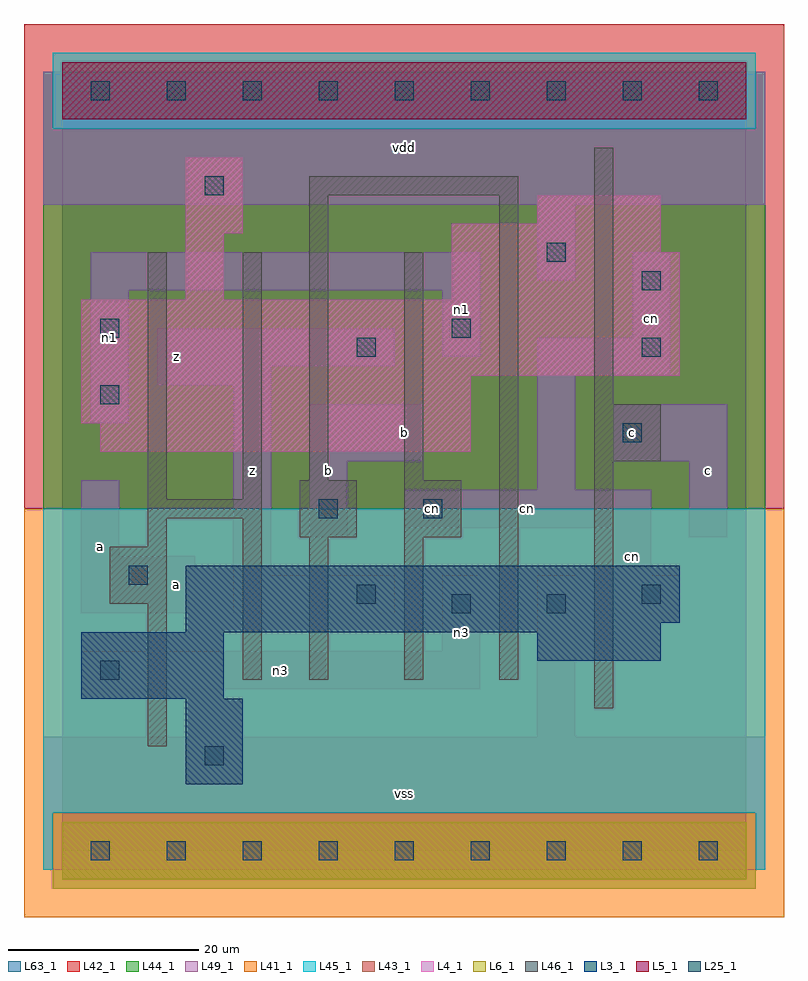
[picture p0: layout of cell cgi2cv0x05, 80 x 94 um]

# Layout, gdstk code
import gdstk
lib = gdstk.Library(unit=1e-6, precision=1e-09)
def R(c, l, rs):  # rectangles x0, y0, x1, y1
    for r in rs: c.add(gdstk.rectangle(r[:2], r[2:], *l))
def A(c, l, x, y, w, h, nx, ny, dx, dy):  # array of equal rectangles
    R(c, l, [(x+i*dx, y+j*dy, x+i*dx+w, y+j*dy+h) for i in range(nx) for j in range(ny)])
L3_1 = (3, 1)
L4_1 = (4, 1)
L5_1 = (5, 1)
L6_1 = (6, 1)
L25_1 = (25, 1)
L41_1 = (41, 1)
L42_1 = (42, 1)
L43_1 = (43, 1)
L44_1 = (44, 1)
L45_1 = (45, 1)
L46_1 = (46, 1)
L49_1 = (49, 1)
L63_1 = (63, 1)

cgi2cv0x05 = lib.new_cell('cgi2cv0x05')
R(cgi2cv0x05, L3_1, [(13,7,19,16), (2,16,17,23), (50,20,63,23), (13,23,63,24), (13,24,65,30)])
R(cgi2cv0x05, L4_1, [(4,42,43,45), (2,45,43,50), (2,50,65,58), (13,58,17,65), (41,58,65,63), (41,63,63,66), (13,65,19,73), (50,66,63,69)])
R(cgi2cv0x05, L5_1, [(0,77,72,83)])
R(cgi2cv0x05, L6_1, [(0,-3,72,3), (0,-3,72,3)])
A(cgi2cv0x05, L25_1, 3, -1, 2, 2, 9, 2, 8, 80)
R(cgi2cv0x05, L25_1, [(15,9,17,11), (4,18,6,20), (41,25,43,27), (51,25,53,27), (31,26,33,28), (61,26,63,28), (7,28,9,30), (27,35,29,37), (38,35,40,37), (59,43,61,45), (4,47,6,49), (31,52,33,54), (61,52,63,54), (4,54,6,56), (41,54,43,56), (61,59,63,61), (51,62,53,64), (15,69,17,71)])
R(cgi2cv0x05, L41_1, [(-4,-7,76,36)])
R(cgi2cv0x05, L42_1, [(-4,36,76,87)])
R(cgi2cv0x05, L43_1, [(0,-3,72,3), (13,7,19,16), (2,16,17,23), (50,20,63,23), (13,23,63,24), (13,24,65,30), (4,42,43,45), (2,45,43,50), (2,50,65,58), (13,58,17,65), (41,58,65,63), (41,63,63,66), (13,65,19,73), (50,66,63,69), (0,77,72,83)])
R(cgi2cv0x05, L44_1, [(-1,-4,73,4), (-2,36,74,76), (-2,76,-1,82), (73,76,74,82)])
R(cgi2cv0x05, L45_1, [(-2,-2,-1,4), (73,-2,74,4), (-2,4,74,36), (-1,76,73,84)])
R(cgi2cv0x05, L46_1, [(9,11,11,26), (56,15,58,41), (19,18,21,35), (26,18,28,33), (36,18,38,33), (46,18,48,69), (5,26,11,32), (9,32,11,35), (25,33,31,39), (36,33,42,39), (9,35,21,37), (9,37,11,63), (19,37,21,63), (26,39,28,69), (36,39,38,63), (56,41,63,47), (56,47,58,74), (26,69,48,71)])
R(cgi2cv0x05, L49_1, [(-2,-2,74,12), (50,12,54,29), (2,17,44,21), (40,21,44,29), (2,25,14,31), (18,25,35,29), (58,25,65,29), (18,29,22,49), (58,29,62,34), (2,31,6,39), (26,33,30,41), (66,33,70,41), (36,34,62,38), (50,38,54,50), (26,41,38,47), (58,41,70,47), (3,45,7,59), (10,49,22,51), (50,50,64,54), (10,51,35,55), (40,52,44,59), (60,54,64,63), (3,59,44,63), (50,60,54,68), (-2,68,74,82)])
R(cgi2cv0x05, L63_1, [(0,0,72,80)])
cgi2cv0x05.add(gdstk.Label('cn', (39,36), layer=49, texttype=1))
cgi2cv0x05.add(gdstk.Label('a', (4,32), layer=49, texttype=1))
cgi2cv0x05.add(gdstk.Label('n1', (5,54), layer=49, texttype=1))
cgi2cv0x05.add(gdstk.Label('a', (12,28), layer=49, texttype=1))
cgi2cv0x05.add(gdstk.Label('z', (20,40), layer=49, texttype=1))
cgi2cv0x05.add(gdstk.Label('z', (12,52), layer=49, texttype=1))
cgi2cv0x05.add(gdstk.Label('vss', (36,6), layer=49, texttype=1))
cgi2cv0x05.add(gdstk.Label('b', (28,40), layer=49, texttype=1))
cgi2cv0x05.add(gdstk.Label('b', (36,44), layer=49, texttype=1))
cgi2cv0x05.add(gdstk.Label('vdd', (36,74), layer=49, texttype=1))
cgi2cv0x05.add(gdstk.Label('n3', (42,23), layer=49, texttype=1))
cgi2cv0x05.add(gdstk.Label('n3', (23,19), layer=49, texttype=1))
cgi2cv0x05.add(gdstk.Label('n1', (42,57), layer=49, texttype=1))
cgi2cv0x05.add(gdstk.Label('cn', (60,31), layer=49, texttype=1))
cgi2cv0x05.add(gdstk.Label('c', (60,44), layer=49, texttype=1))
cgi2cv0x05.add(gdstk.Label('cn', (49,36), layer=49, texttype=1))
cgi2cv0x05.add(gdstk.Label('c', (68,40), layer=49, texttype=1))
cgi2cv0x05.add(gdstk.Label('cn', (62,56), layer=49, texttype=1))

lib.write_gds('cgi2cv0x05.gds')
